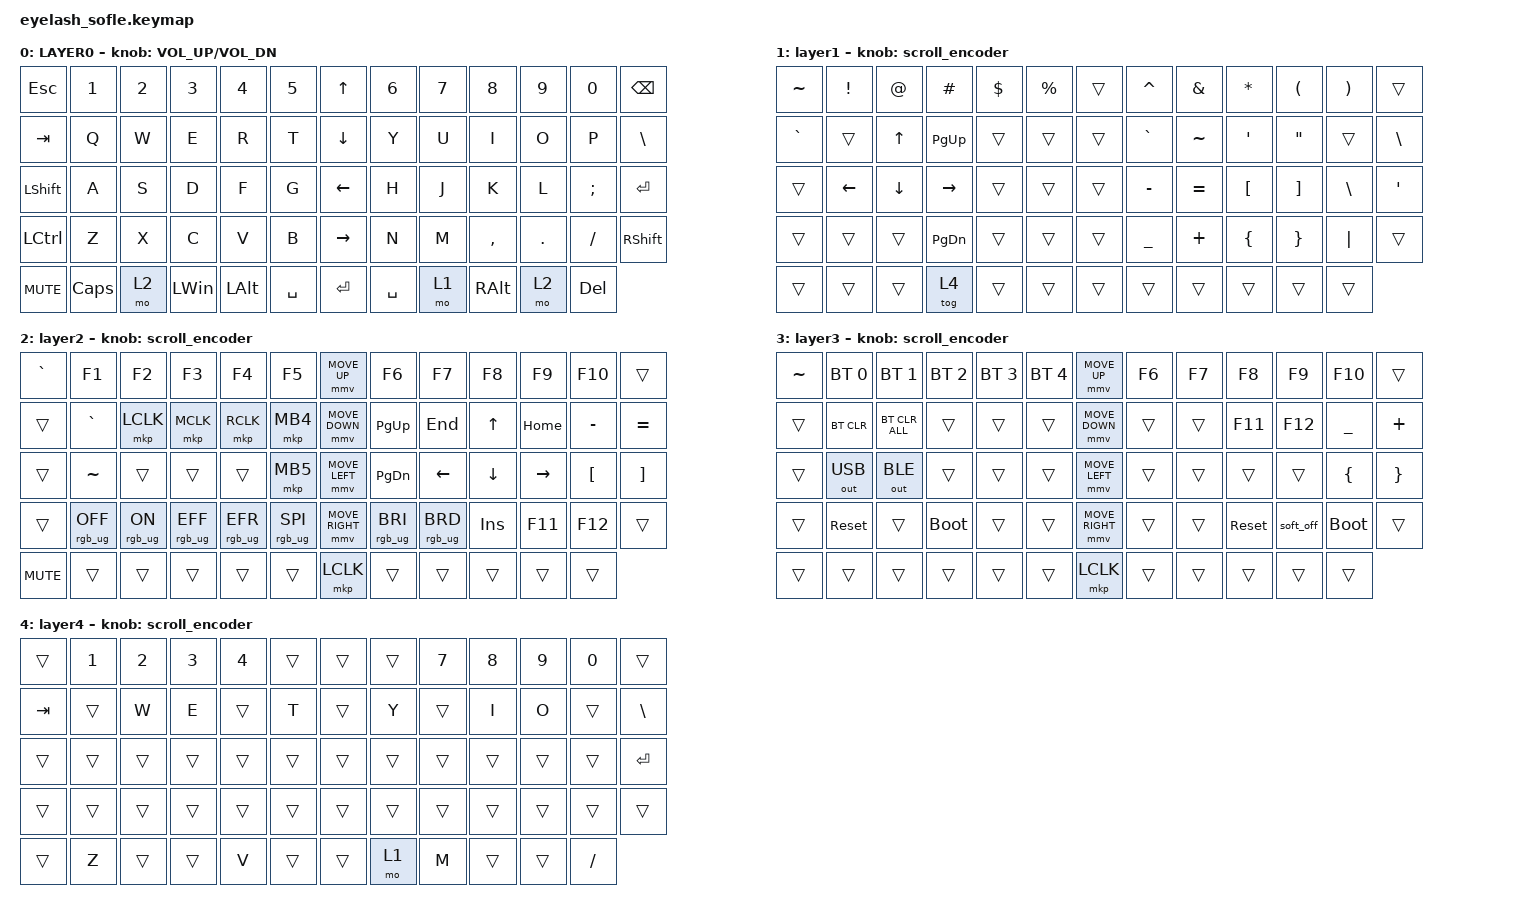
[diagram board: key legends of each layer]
#define ZMK_POINTING_DEFAULT_MOVE_VAL 1200  // 600
#define ZMK_POINTING_DEFAULT_SCRL_VAL 25   // 10

#include <input/processors.dtsi>
#include <zephyr/dt-bindings/input/input-event-codes.h>
#include <behaviors.dtsi>
#include <dt-bindings/zmk/bt.h>
#include <dt-bindings/zmk/keys.h>
#include <dt-bindings/zmk/outputs.h>
#include <dt-bindings/zmk/pointing.h>
#include <dt-bindings/zmk/rgb.h>

&mmv_input_listener { input-processors = <&zip_xy_scaler 2 1>; };

&msc_input_listener { input-processors = <&zip_scroll_scaler 2 1>; };

&msc {
    acceleration-exponent = <1>;      // 0
    time-to-max-speed-ms = <100>;       // 300
    delay-ms = <0>;                   // 0
};

&mmv {
    time-to-max-speed-ms = <500>;
    acceleration-exponent = <1>;
    trigger-period-ms = <16>;
};

&soft_off { hold-time-ms = <2000>; };

/ {
    scroll_encoder: scroll_encoder {
        compatible = "zmk,behavior-sensor-rotate";
        #sensor-binding-cells = <0>;
        bindings = <&msc SCRL_DOWN>, <&msc SCRL_UP>;

        tap-ms = <100>;
    };

    behaviors {
    };

    combos {
        compatible = "zmk,combos";

        softoff {
            bindings = <&soft_off>;
            key-positions = <14 28 40>;
        };
    };

    macros {
        SHIFT_MCLK: SHIFT_MCLK {
            compatible = "zmk,behavior-macro";
            #binding-cells = <0>;
            bindings =
                <&macro_press>,
                <&kp LEFT_SHIFT>,
                <&macro_press>,
                <&mkp MB3>,
                <&macro_pause_for_release>,
                <&macro_release>,
                <&kp LEFT_SHIFT &mkp MB3>;

            label = "SHIFT_MCLK";
        };
    };

    keymap {
        compatible = "zmk,keymap";

        layer0 {
            bindings = <
&kp ESC     &kp N1    &kp N2  &kp N3        &kp N4        &kp N5       &kp UP_ARROW     &kp N6     &kp N7  &kp N8         &kp N9   &kp N0      &kp BACKSPACE
&kp TAB     &kp Q     &kp W   &kp E         &kp R         &kp T        &kp DOWN_ARROW   &kp Y      &kp U   &kp I          &kp O    &kp P       &kp BSLH
&kp LSHIFT  &kp A     &kp S   &kp D         &kp F         &kp G        &kp LEFT_ARROW   &kp H      &kp J   &kp K          &kp L    &kp SEMI    &kp ENTER
&kp LCTRL   &kp Z     &kp X   &kp C         &kp V         &kp B        &kp RIGHT_ARROW  &kp N      &kp M   &kp COMMA      &kp DOT  &kp FSLH    &kp RIGHT_SHIFT
&kp C_MUTE  &kp CAPS  &mo 2   &kp LEFT_WIN  &kp LEFT_ALT  &kp SPACE    &kp ENTER        &kp SPACE  &mo 1   &kp RIGHT_ALT  &mo 2    &kp DELETE
            >;

            sensor-bindings = <&inc_dec_kp C_VOLUME_UP C_VOL_DN>;
            display-name = "LAYER0";
        };

        layer_1 {
            bindings = <
&kp TILDE  &kp EXCL        &kp AT          &kp HASH       &kp DOLLAR  &kp PERCENT    &trans  &kp CARET  &kp AMPS   &kp ASTERISK      &kp LEFT_PARENTHESIS  &kp RIGHT_PARENTHESIS  &trans
&kp GRAVE  &trans          &kp UP_ARROW    &kp PAGE_UP    &trans      &trans         &trans  &kp GRAVE  &kp TILDE  &kp SINGLE_QUOTE  &kp DOUBLE_QUOTES     &trans                 &kp BACKSLASH
&trans     &kp LEFT_ARROW  &kp DOWN_ARROW  &kp RIGHT      &trans      &trans         &trans  &kp MINUS  &kp EQUAL  &kp LEFT_BRACKET  &kp RIGHT_BRACKET     &kp BACKSLASH          &kp SINGLE_QUOTE
&trans     &trans          &trans          &kp PAGE_DOWN  &trans      &trans         &trans  &kp UNDER  &kp PLUS   &kp LEFT_BRACE    &kp RIGHT_BRACE       &kp PIPE               &trans
&trans     &trans          &trans          &tog 4         &trans      &trans         &trans  &trans     &trans     &trans            &trans                &trans
            >;

            display-name = "layer1";
            sensor-bindings = <&scroll_encoder>;
        };

        layer_2 {
            bindings = <
&kp GRAVE   &kp F1           &kp F2          &kp F3           &kp F4           &kp F5             &mmv MOVE_UP     &kp F6           &kp F7           &kp F8      &kp F9     &kp F10           &trans
&trans      &kp GRAVE        &mkp LCLK       &mkp MCLK        &mkp RCLK        &mkp MB4           &mmv MOVE_DOWN   &kp PG_UP        &kp END          &kp UP      &kp HOME   &kp MINUS         &kp EQUAL
&trans      &kp TILDE        &trans          &trans           &trans           &mkp MB5           &mmv MOVE_LEFT   &kp PG_DN        &kp LEFT         &kp DOWN    &kp RIGHT  &kp LEFT_BRACKET  &kp RIGHT_BRACKET
&trans      &rgb_ug RGB_OFF  &rgb_ug RGB_ON  &rgb_ug RGB_EFF  &rgb_ug RGB_EFR  &rgb_ug RGB_SPI    &mmv MOVE_RIGHT  &rgb_ug RGB_BRI  &rgb_ug RGB_BRD  &kp INSERT  &kp F11    &kp F12           &trans
&kp C_MUTE  &trans           &trans          &trans           &trans           &trans             &mkp LCLK        &trans           &trans           &trans      &trans     &trans
            >;

            display-name = "layer2";
            sensor-bindings = <&scroll_encoder>;
        };

        layer_3 {
            bindings = <
&kp TILDE  &bt BT_SEL 0  &bt BT_SEL 1    &bt BT_SEL 2  &bt BT_SEL 3  &bt BT_SEL 4    &mmv MOVE_UP     &kp F6  &kp F7  &kp F8      &kp F9     &kp F10      &trans
&trans     &bt BT_CLR    &bt BT_CLR_ALL  &trans        &trans        &trans          &mmv MOVE_DOWN   &trans  &trans  &kp F11     &kp F12    &kp UNDER    &kp PLUS
&trans     &out OUT_USB  &out OUT_BLE    &trans        &trans        &trans          &mmv MOVE_LEFT   &trans  &trans  &trans      &trans     &kp LBRC     &kp RBRC
&trans     &sys_reset    &trans          &bootloader   &trans        &trans          &mmv MOVE_RIGHT  &trans  &trans  &sys_reset  &soft_off  &bootloader  &trans
&trans     &trans        &trans          &trans        &trans        &trans          &mkp LCLK        &trans  &trans  &trans      &trans     &trans
            >;

            display-name = "layer3";
            sensor-bindings = <&scroll_encoder>;
        };

        layer_4 {
            bindings = <
&trans   &kp NUMBER_1  &kp NUMBER_2  &kp NUMBER_3  &kp NUMBER_4  &trans    &trans  &trans  &kp NUMBER_7  &kp NUMBER_8  &kp N9  &kp N0     &trans
&kp TAB  &trans        &kp W         &kp E         &trans        &kp T     &trans  &kp Y   &trans        &kp I         &kp O   &trans     &kp BACKSLASH
&trans   &trans        &trans        &trans        &trans        &trans    &trans  &trans  &trans        &trans        &trans  &trans     &kp ENTER
&trans   &trans        &trans        &trans        &trans        &trans    &trans  &trans  &trans        &trans        &trans  &trans     &trans
&trans   &kp Z         &trans        &trans        &kp V         &trans    &trans  &mo 1   &kp M         &trans        &trans  &kp SLASH
            >;

            display-name = "layer4";
            sensor-bindings = <&scroll_encoder>;
        };
    };
};
